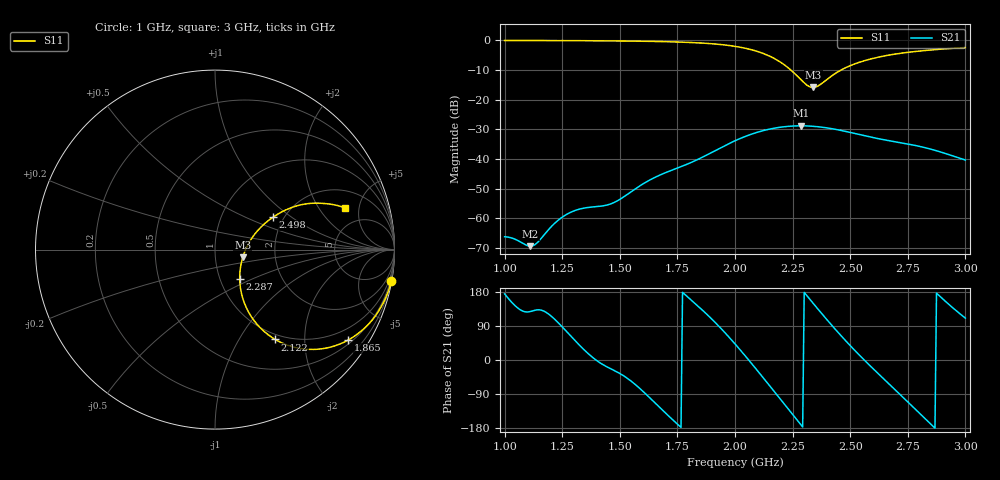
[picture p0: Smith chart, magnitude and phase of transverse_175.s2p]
! TOUCHSTONE file generated by CST MICROWAVE STUDIO
! Date and time: Tue Mar 11 13:57:22 2025
! Project name: transverse.cst
! Parameters = {Fracture=1; B=10; D=160; F=25; Feed=2.85625; L=100; M=20; R=0.384908; S=2; Theta=180; length=57.125; wave=114.25}
! Header version: 2024
! Port assignment regex: !\s*Touchstone port\s*([0-9]+)\s*=\s*(CST MWS port|CST DES external port|CST DES block port)\s*(.+)\s* \(\"(.*)\"\)(\s*mode\s*([0-9]+))?.*
! Touchstone port assignment:
! Touchstone port 1 = CST MWS port 1 ("")
! Touchstone port 2 = CST MWS port 2 ("")
# GHz S MA R 50
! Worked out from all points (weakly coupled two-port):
!   304 points, 1 GHz to 3 GHz, reference 50 ohm
!   highest |S21| = -28.84 dB at 2.287 GHz (marker M1); lowest = -69.5 dB at 1.112 GHz (marker M2)
!   lowest |S11| = -15.9 dB at 2.34 GHz (marker M3), VSWR 1.38, Z = 68 - j5.91 ohm
!   |S11| at or under -10 dB: 2.242 GHz to 2.46 GHz (218.2 MHz wide, 9.28 % of centre)
!   S12 and S22 are empty: the file has one direction only
!   S11 on the Smith chart (normalised r, x): 1 GHz: 0, -11; 1.865 GHz: 0.61, -3.15; 2.122 GHz: 0.92, -1.45; 2.287 GHz: 1.24, -0.43; 2.498 GHz: 1.76, +0.74; 3 GHz: 3.22, +3.54
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1  0.9976 -10.0  0.0004849 174.5  0 0.0  0 0.0
1.0396  0.9972 -10.6  0.0004498 146.7  0 0.0  0 0.0
1.11221  0.9962 -11.6  0.0003361 127.9  0 0.0  0 0.0
1.13861  0.9956 -12.0  0.0003749 132.1  0 0.0  0 0.0
1.20462  0.9937 -13.1  0.000732 114.6  0 0.0  0 0.0
1.24422  0.9924 -13.8  0.001 91.2  0 0.0  0 0.0
1.33663  0.9887 -15.5  0.001456 31.9  0 0.0  0 0.0
1.46865  0.9805 -18.5  0.001788 -25.6  0 0.0  0 0.0
1.66667  0.9581 -24.5  0.005174 -121.3  0 0.0  0 0.0
1.86469  0.8977 -34.1  0.01097 128.1  0 0.0  0 0.0
2.0033  0.7901 -44.7  0.0205 40.2  0 0.0  0 0.0
2.12211  0.6025 -56.2  0.02997 -46.6  0 0.0  0 0.0
2.20792  0.4025 -61.7  0.03468 -111.7  0 0.0  0 0.0
2.28713  0.2149 -50.1  0.03615 -171.7  0 0.0  0 0.0
2.32013  0.1679 -30.9  0.03587 163.7  0 0.0  0 0.0
2.33993  0.1603 -15.3  0.03547 149.0  0 0.0  0 0.0
2.36634  0.1756 3.7  0.03468 129.8  0 0.0  0 0.0
2.41914  0.2508 23.0  0.03241 92.2  0 0.0  0 0.0
2.49835  0.3722 29.2  0.02804 39.0  0 0.0  0 0.0
2.66997  0.5663 26.7  0.02024 -64.0  0 0.0  0 0.0
2.83498  0.6806 22.0  0.01512 -160.7  0 0.0  0 0.0
3  0.7584 17.9  0.009562 110.4  0 0.0  0 0.0
